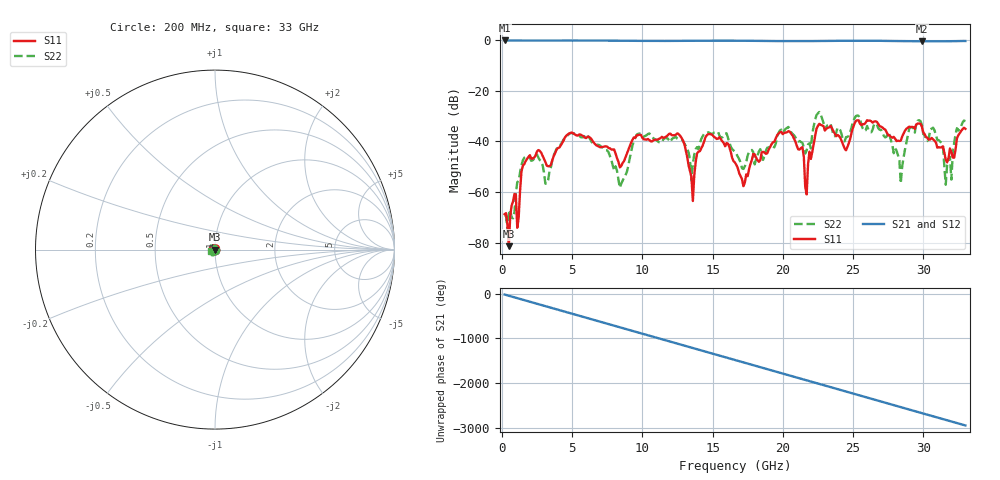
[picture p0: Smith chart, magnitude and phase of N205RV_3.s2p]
# GHZ S RI R 50
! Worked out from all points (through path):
!   329 points, 200 MHz to 33 GHz, reference 50 ohm
!   highest |S21| = -0.02 dB at 200 MHz (marker M1); lowest = -0.4 dB at 29.9 GHz (marker M2)
!   group delay of S21, straight-line fit = 248 ps
!   lowest |S11| = -81.4 dB at 500 MHz (marker M3), VSWR 1.00, Z = 50 - j0.00138 ohm
!   |S11| at or under -10 dB: start of sweep to end of sweep
!   |S22| runs from -75.0 to -28.3 dB; largest |S21 - S12| = 0.0019
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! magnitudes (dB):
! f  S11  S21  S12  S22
! 200 MHz  -68.8  0.0  0.0  -69.4
! 500 MHz  -81.4  0.0  0.0  -68.6
! 1.9 GHz  -46.1  -0.1  -0.1  -45.9
! 3.2 GHz  -49.6  -0.1  -0.1  -56.7
! 5.7 GHz  -37.6  -0.1  -0.1  -38.4
! 8.4 GHz  -50.2  -0.1  -0.1  -58.3
! 9.6 GHz  -37.7  -0.2  -0.2  -37.3
! 11.2 GHz  -39.0  -0.2  -0.2  -40.3
! 12.8 GHz  -38.6  -0.2  -0.2  -39.3
! 13.6 GHz  -63.6  -0.2  -0.2  -48.9
! 14.6 GHz  -37.5  -0.1  -0.1  -36.5
! 16.6 GHz  -48.4  -0.1  -0.1  -44.1
! 20.5 GHz  -36.1  -0.3  -0.3  -34.9
! 21.4 GHz  -42.3  -0.3  -0.3  -40.5
! 21.7 GHz  -60.9  -0.3  -0.3  -43.5
! 22.1 GHz  -44.1  -0.3  -0.3  -36.9
! 27.6 GHz  -37.6  -0.2  -0.2  -37.5
! 28.4 GHz  -39.7  -0.3  -0.3  -56.6
! 29.9 GHz  -34.1  -0.4  -0.4  -33.3
! 31.4 GHz  -41.9  -0.3  -0.3  -41.4
! 31.6 GHz  -47.2  -0.3  -0.3  -57.1
! 33 GHz  -35.0  -0.2  -0.2  -31.9
